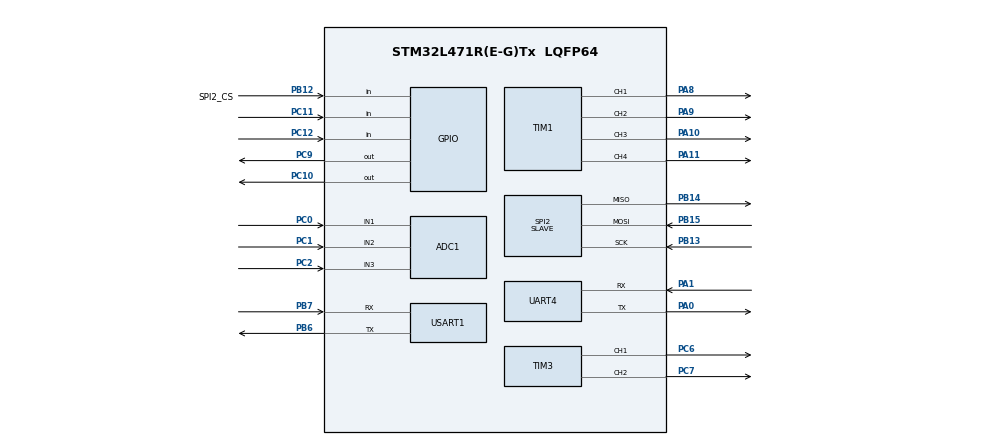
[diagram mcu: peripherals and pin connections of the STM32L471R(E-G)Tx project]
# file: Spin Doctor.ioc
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ADC1.Channel-0\#ChannelRegularConversion=ADC_CHANNEL_1
ADC1.Channel-1\#ChannelRegularConversion=ADC_CHANNEL_2
ADC1.Channel-2\#ChannelRegularConversion=ADC_CHANNEL_3
ADC1.NbrOfConversion=3
ADC1.NbrOfConversionFlag=1
ADC1.OffsetNumber-0\#ChannelRegularConversion=ADC_OFFSET_NONE
ADC1.OffsetNumber-1\#ChannelRegularConversion=ADC_OFFSET_NONE
ADC1.OffsetNumber-2\#ChannelRegularConversion=ADC_OFFSET_NONE
ADC1.Rank-0\#ChannelRegularConversion=1
ADC1.Rank-1\#ChannelRegularConversion=2
ADC1.Rank-2\#ChannelRegularConversion=3
ADC1.SamplingTime-0\#ChannelRegularConversion=ADC_SAMPLETIME_2CYCLES_5
ADC1.SamplingTime-1\#ChannelRegularConversion=ADC_SAMPLETIME_2CYCLES_5
ADC1.SamplingTime-2\#ChannelRegularConversion=ADC_SAMPLETIME_2CYCLES_5
ADC1.master=1
Dma.ADC1.0.Direction=DMA_PERIPH_TO_MEMORY
Dma.ADC1.0.Instance=DMA1_Channel1
Dma.ADC1.0.MemDataAlignment=DMA_MDATAALIGN_HALFWORD
Dma.ADC1.0.MemInc=DMA_MINC_ENABLE
Dma.ADC1.0.Mode=DMA_CIRCULAR
Dma.ADC1.0.PeriphDataAlignment=DMA_PDATAALIGN_HALFWORD
Dma.ADC1.0.PeriphInc=DMA_PINC_DISABLE
Dma.ADC1.0.Priority=DMA_PRIORITY_LOW
Dma.Request0=ADC1
Mcu.Family=STM32L4
Mcu.Name=STM32L471R(E-G)Tx
Mcu.Package=LQFP64
NVIC.DMA1_Channel1_IRQn=true\:0\:0\:false\:false\:true\:false\:true\:true
NVIC.PriorityGroup=NVIC_PRIORITYGROUP_4
NVIC.UART4_IRQn=true\:0\:0\:false\:false\:true\:true\:true\:true
NVIC.USART1_IRQn=true\:0\:0\:false\:false\:true\:true\:true\:true
PA0.Mode=Asynchronous
PA0.Signal=UART4_TX
PA1.Mode=Asynchronous
PA1.Signal=UART4_RX
PA10.Signal=S_TIM1_CH3
PA11.Signal=S_TIM1_CH4
PA13\ (JTMS-SWDIO).Mode=Serial_Wire
PA13\ (JTMS-SWDIO).Signal=SYS_JTMS-SWDIO
PA14\ (JTCK-SWCLK).Mode=Serial_Wire
PA14\ (JTCK-SWCLK).Signal=SYS_JTCK-SWCLK
PA8.Signal=S_TIM1_CH1
PA9.Signal=S_TIM1_CH2
PB12.GPIO_Label=SPI2_CS
PB12.Signal=GPIO_Input
PB13.Mode=Full_Duplex_Slave
PB13.Signal=SPI2_SCK
PB14.Mode=Full_Duplex_Slave
PB14.Signal=SPI2_MISO
PB15.Mode=Full_Duplex_Slave
PB15.Signal=SPI2_MOSI
PB6.Mode=Asynchronous
PB6.Signal=USART1_TX
PB7.Mode=Asynchronous
PB7.Signal=USART1_RX
PC0.Signal=ADCx_IN1
PC1.Signal=ADCx_IN2
PC10.Signal=GPIO_Output
PC11.Signal=GPIO_Input
PC12.Signal=GPIO_Input
PC2.Signal=ADCx_IN3
PC6.Signal=S_TIM3_CH1
PC7.Signal=S_TIM3_CH2
PC9.Signal=GPIO_Output
ProjectManager.HeapSize=0x200
ProjectManager.StackSize=0x400
ProjectManager.TargetToolchain=STM32CubeIDE
RCC.ADCFreq_Value=32000000
RCC.HSE_VALUE=8000000
RCC.HSI_VALUE=16000000
RCC.LSE_VALUE=32768
RCC.MSI_VALUE=4000000
RCC.PLLSAI1N=16
RCC.VCOOutputFreq_Value=32000000
SH.ADCx_IN1.0=ADC1_IN1,IN1-Single-Ended
SH.ADCx_IN2.0=ADC1_IN2,IN2-Single-Ended
SH.ADCx_IN3.0=ADC1_IN3,IN3-Single-Ended
SH.S_TIM1_CH1.0=TIM1_CH1,PWM Generation1 CH1
SH.S_TIM1_CH2.0=TIM1_CH2,PWM Generation2 CH2
SH.S_TIM1_CH3.0=TIM1_CH3,PWM Generation3 CH3
SH.S_TIM1_CH4.0=TIM1_CH4,PWM Generation4 CH4
SH.S_TIM3_CH1.0=TIM3_CH1,PWM Generation1 CH1
SH.S_TIM3_CH2.0=TIM3_CH2,PWM Generation2 CH2
SPI2.Direction=SPI_DIRECTION_2LINES
SPI2.Mode=SPI_MODE_SLAVE
SPI2.VirtualType=VM_SLAVE
TIM1.AutoReloadPreload=TIM_AUTORELOAD_PRELOAD_ENABLE
TIM1.Channel-PWM\ Generation1\ CH1=TIM_CHANNEL_1
TIM1.Channel-PWM\ Generation2\ CH2=TIM_CHANNEL_2
TIM1.Channel-PWM\ Generation3\ CH3=TIM_CHANNEL_3
TIM1.Channel-PWM\ Generation4\ CH4=TIM_CHANNEL_4
TIM3.Channel-PWM\ Generation1\ CH1=TIM_CHANNEL_1
TIM3.Channel-PWM\ Generation2\ CH2=TIM_CHANNEL_2
USART1.VirtualMode-Asynchronous=VM_ASYNC
VP_TIM1_VS_ClockSourceINT.Mode=Internal
VP_TIM3_VS_ClockSourceINT.Mode=Internal
board=custom

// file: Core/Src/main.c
/* USER CODE BEGIN Header */
/**
  ******************************************************************************
  * @file           : main.c
  * @brief          : Main program body
  ******************************************************************************
  * @attention
  *
  * Copyright (c) 2026 STMicroelectronics.
  * All rights reserved.
  *
  * This software is licensed under terms that can be found in the LICENSE file
  * in the root directory of this software component.
  * If no LICENSE file comes with this software, it is provided AS-IS.
  *
  ******************************************************************************
  */
/* USER CODE END Header */
#include "main.h"

/* USER CODE BEGIN PD */
#define MAX_OCR 65535

// TIMER 1
#define COILA1_CHANNEL TIM_CHANNEL_1
#define COILA2_CHANNEL TIM_CHANNEL_2
#define COILB1_CHANNEL TIM_CHANNEL_3
#define COILB2_CHANNEL TIM_CHANNEL_4

// TIMER 3
#define COILC1_CHANNEL TIM_CHANNEL_1
#define COILC2_CHANNEL TIM_CHANNEL_2

// Macros for coils
#define X_COIL 0
#define Y_COIL 1
#define Z_COIL 2

// Macros for direction
#define FORWARD true
#define REVERSE false

// Number of ADC Channels
#define TOTAL_ADC_CHANNELS 3

/* USER CODE END PD */

ADC_HandleTypeDef hadc1;
DMA_HandleTypeDef hdma_adc1;

SPI_HandleTypeDef hspi2;

TIM_HandleTypeDef htim1;
TIM_HandleTypeDef htim3;

UART_HandleTypeDef huart4;
UART_HandleTypeDef huart1;

/* USER CODE BEGIN PV */
MMC5983_HW_InitTypeDef MMC5983_Handle = {
	    .SPIhandler = &hspi2,
	    .CS_GPIOport = GPIOB,
	    .CS_GPIOpin = GPIO_PIN_12,
	    .SPI_Timeout = 100
	};

MMC5983_Data_TypeDef mag_data;

uint32_t adc_data[TOTAL_ADC_CHANNELS];
int16_t current_data[TOTAL_ADC_CHANNELS];

static uint8_t uartRxData[8] = {0};

// flags
bool coilCommandFlag = false;
bool currentReadingFlag = false;
bool magReadingFlag = false;
bool powerProfileFlag = false;
bool testRoutineFlag = false;

// variables for storing sent params
int8_t xDutyCycle = 0;
int8_t yDutyCycle = 0;
int8_t zDutyCycle = 0;
/* USER CODE END PV */

void SystemClock_Config(void);
static void MX_GPIO_Init(void);
static void MX_DMA_Init(void);
static void MX_ADC1_Init(void);
static void MX_SPI2_Init(void);
static void MX_TIM1_Init(void);
static void MX_TIM3_Init(void);
static void MX_UART4_Init(void);
static void MX_USART1_UART_Init(void);

int main(void)
{

  /* MCU Configuration--------------------------------------------------------*/

  /* Reset of all peripherals, Initializes the Flash interface and the Systick. */
  HAL_Init();

  /* Configure the system clock */
  SystemClock_Config();

  /* Initialize all configured peripherals */
  MX_GPIO_Init();
  MX_DMA_Init();
  MX_ADC1_Init();
  MX_SPI2_Init();
  MX_TIM1_Init();
  MX_TIM3_Init();
  MX_UART4_Init();
  MX_USART1_UART_Init();
  /* USER CODE BEGIN 2 */

  if (HAL_UART_Receive_IT(&huart4, uartRxData, 4) != HAL_OK)
  {
	  Error_Handler();
  }
  // Start ADCs
  HAL_ADC_Start_DMA(&hadc1, adc_data, 3);

  // Initialise magnetometer
  MMC5983_Init(&MMC5983_Handle);

  // Start PWM on all channels
  Start_PWM(&htim1, COILA1_CHANNEL);
  Start_PWM(&htim1, COILA2_CHANNEL);
  Start_PWM(&htim1, COILB1_CHANNEL);
  Start_PWM(&htim1, COILB2_CHANNEL);
  Start_PWM(&htim3, COILC1_CHANNEL);
  Start_PWM(&htim3, COILC2_CHANNEL);
  /* USER CODE END 2 */

  /* Infinite loop */
  /* USER CODE BEGIN WHILE */
  while (1)
  {
	if (coilCommandFlag) {
		if (abs(xDutyCycle) > 100) xDutyCycle = 0;
		if (abs(yDutyCycle) > 100) xDutyCycle = 0;
		if (abs(zDutyCycle) > 100) xDutyCycle = 0;

		XYZ_Command(xDutyCycle, yDutyCycle, zDutyCycle);

		coilCommandFlag = false;
	}

	if (currentReadingFlag) {
		Update_Current_Data(adc_data, current_data);
		Send_Current_Data(&huart4, current_data);

		currentReadingFlag = false;
	}

	if (magReadingFlag) {
		MMC5983_Data_Read(&MMC5983_Handle, &mag_data);
		Send_Magnetometer_Data(&huart4, &mag_data);

		magReadingFlag = false;
	}

	if (powerProfileFlag) {
		runPowerProfile();

		powerProfileFlag = false;
	}

	if (testRoutineFlag) {
		runFunctionalTest();

		testRoutineFlag = false;
	}
    /* USER CODE END WHILE */

  }
}

void SystemClock_Config(void)
{
  RCC_OscInitTypeDef RCC_OscInitStruct = {0};
  RCC_ClkInitTypeDef RCC_ClkInitStruct = {0};

  /** Configure the main internal regulator output voltage
  */
  if (HAL_PWREx_ControlVoltageScaling(PWR_REGULATOR_VOLTAGE_SCALE1) != HAL_OK)
  {
    Error_Handler();
  }

  /** Initializes the RCC Oscillators according to the specified parameters
  * in the RCC_OscInitTypeDef structure.
  */
  RCC_OscInitStruct.OscillatorType = RCC_OSCILLATORTYPE_MSI;
  RCC_OscInitStruct.MSIState = RCC_MSI_ON;
  RCC_OscInitStruct.MSICalibrationValue = 0;
  RCC_OscInitStruct.MSIClockRange = RCC_MSIRANGE_6;
  RCC_OscInitStruct.PLL.PLLState = RCC_PLL_NONE;
  if (HAL_RCC_OscConfig(&RCC_OscInitStruct) != HAL_OK)
  {
    Error_Handler();
  }

  /** Initializes the CPU, AHB and APB buses clocks
  */
  RCC_ClkInitStruct.ClockType = RCC_CLOCKTYPE_HCLK|RCC_CLOCKTYPE_SYSCLK
                              |RCC_CLOCKTYPE_PCLK1|RCC_CLOCKTYPE_PCLK2;
  RCC_ClkInitStruct.SYSCLKSource = RCC_SYSCLKSOURCE_MSI;
  RCC_ClkInitStruct.AHBCLKDivider = RCC_SYSCLK_DIV1;
  RCC_ClkInitStruct.APB1CLKDivider = RCC_HCLK_DIV1;
  RCC_ClkInitStruct.APB2CLKDivider = RCC_HCLK_DIV1;

  if (HAL_RCC_ClockConfig(&RCC_ClkInitStruct, FLASH_LATENCY_0) != HAL_OK)
  {
    Error_Handler();
  }
}

static void MX_ADC1_Init(void)
{

  ADC_MultiModeTypeDef multimode = {0};
  ADC_ChannelConfTypeDef sConfig = {0};

  /** Common config
  */
  hadc1.Instance = ADC1;
  hadc1.Init.ClockPrescaler = ADC_CLOCK_ASYNC_DIV1;
  hadc1.Init.Resolution = ADC_RESOLUTION_12B;
  hadc1.Init.DataAlign = ADC_DATAALIGN_RIGHT;
  hadc1.Init.ScanConvMode = ADC_SCAN_ENABLE;
  hadc1.Init.EOCSelection = ADC_EOC_SINGLE_CONV;
  hadc1.Init.LowPowerAutoWait = DISABLE;
  hadc1.Init.ContinuousConvMode = DISABLE;
  hadc1.Init.NbrOfConversion = 3;
  hadc1.Init.DiscontinuousConvMode = DISABLE;
  hadc1.Init.ExternalTrigConv = ADC_SOFTWARE_START;
  hadc1.Init.ExternalTrigConvEdge = ADC_EXTERNALTRIGCONVEDGE_NONE;
  hadc1.Init.DMAContinuousRequests = DISABLE;
  hadc1.Init.Overrun = ADC_OVR_DATA_PRESERVED;
  hadc1.Init.OversamplingMode = DISABLE;
  if (HAL_ADC_Init(&hadc1) != HAL_OK)
  {
    Error_Handler();
  }

  /** Configure the ADC multi-mode
  */
  multimode.Mode = ADC_MODE_INDEPENDENT;
  if (HAL_ADCEx_MultiModeConfigChannel(&hadc1, &multimode) != HAL_OK)
  {
    Error_Handler();
  }

  /** Configure Regular Channel
  */
  sConfig.Channel = ADC_CHANNEL_1;
  sConfig.Rank = ADC_REGULAR_RANK_1;
  sConfig.SamplingTime = ADC_SAMPLETIME_2CYCLES_5;
  sConfig.SingleDiff = ADC_SINGLE_ENDED;
  sConfig.OffsetNumber = ADC_OFFSET_NONE;
  sConfig.Offset = 0;
  if (HAL_ADC_ConfigChannel(&hadc1, &sConfig) != HAL_OK)
  {
    Error_Handler();
  }

  /** Configure Regular Channel
  */
  sConfig.Channel = ADC_CHANNEL_2;
  sConfig.Rank = ADC_REGULAR_RANK_2;
  if (HAL_ADC_ConfigChannel(&hadc1, &sConfig) != HAL_OK)
  {
    Error_Handler();
  }

  /** Configure Regular Channel
  */
  sConfig.Channel = ADC_CHANNEL_3;
  sConfig.Rank = ADC_REGULAR_RANK_3;
  if (HAL_ADC_ConfigChannel(&hadc1, &sConfig) != HAL_OK)
  {
    Error_Handler();
  }

}

static void MX_SPI2_Init(void)
{

  /* SPI2 parameter configuration*/
  hspi2.Instance = SPI2;
  hspi2.Init.Mode = SPI_MODE_SLAVE;
  hspi2.Init.Direction = SPI_DIRECTION_2LINES;
  hspi2.Init.DataSize = SPI_DATASIZE_4BIT;
  hspi2.Init.CLKPolarity = SPI_POLARITY_LOW;
  hspi2.Init.CLKPhase = SPI_PHASE_1EDGE;
  hspi2.Init.NSS = SPI_NSS_SOFT;
  hspi2.Init.FirstBit = SPI_FIRSTBIT_MSB;
  hspi2.Init.TIMode = SPI_TIMODE_DISABLE;
  hspi2.Init.CRCCalculation = SPI_CRCCALCULATION_DISABLE;
  hspi2.Init.CRCPolynomial = 7;
  hspi2.Init.CRCLength = SPI_CRC_LENGTH_DATASIZE;
  hspi2.Init.NSSPMode = SPI_NSS_PULSE_DISABLE;
  if (HAL_SPI_Init(&hspi2) != HAL_OK)
  {
    Error_Handler();
  }

}

static void MX_TIM1_Init(void)
{

  TIM_ClockConfigTypeDef sClockSourceConfig = {0};
  TIM_MasterConfigTypeDef sMasterConfig = {0};
  TIM_OC_InitTypeDef sConfigOC = {0};
  TIM_BreakDeadTimeConfigTypeDef sBreakDeadTimeConfig = {0};

  htim1.Instance = TIM1;
  htim1.Init.Prescaler = 0;
  htim1.Init.CounterMode = TIM_COUNTERMODE_UP;
  htim1.Init.Period = 65535;
  htim1.Init.ClockDivision = TIM_CLOCKDIVISION_DIV1;
  htim1.Init.RepetitionCounter = 0;
  htim1.Init.AutoReloadPreload = TIM_AUTORELOAD_PRELOAD_ENABLE;
  if (HAL_TIM_Base_Init(&htim1) != HAL_OK)
  {
    Error_Handler();
  }
  sClockSourceConfig.ClockSource = TIM_CLOCKSOURCE_INTERNAL;
  if (HAL_TIM_ConfigClockSource(&htim1, &sClockSourceConfig) != HAL_OK)
  {
    Error_Handler();
  }
  if (HAL_TIM_PWM_Init(&htim1) != HAL_OK)
  {
    Error_Handler();
  }
  sMasterConfig.MasterOutputTrigger = TIM_TRGO_RESET;
  sMasterConfig.MasterOutputTrigger2 = TIM_TRGO2_RESET;
  sMasterConfig.MasterSlaveMode = TIM_MASTERSLAVEMODE_DISABLE;
  if (HAL_TIMEx_MasterConfigSynchronization(&htim1, &sMasterConfig) != HAL_OK)
  {
    Error_Handler();
  }
  sConfigOC.OCMode = TIM_OCMODE_PWM1;
  sConfigOC.Pulse = 0;
  sConfigOC.OCPolarity = TIM_OCPOLARITY_HIGH;
  sConfigOC.OCNPolarity = TIM_OCNPOLARITY_HIGH;
  sConfigOC.OCFastMode = TIM_OCFAST_DISABLE;
  sConfigOC.OCIdleState = TIM_OCIDLESTATE_RESET;
  sConfigOC.OCNIdleState = TIM_OCNIDLESTATE_RESET;
  if (HAL_TIM_PWM_ConfigChannel(&htim1, &sConfigOC, TIM_CHANNEL_1) != HAL_OK)
  {
    Error_Handler();
  }
  if (HAL_TIM_PWM_ConfigChannel(&htim1, &sConfigOC, TIM_CHANNEL_2) != HAL_OK)
  {
    Error_Handler();
  }
  if (HAL_TIM_PWM_ConfigChannel(&htim1, &sConfigOC, TIM_CHANNEL_3) != HAL_OK)
  {
    Error_Handler();
  }
  if (HAL_TIM_PWM_ConfigChannel(&htim1, &sConfigOC, TIM_CHANNEL_4) != HAL_OK)
  {
    Error_Handler();
  }
  sBreakDeadTimeConfig.OffStateRunMode = TIM_OSSR_DISABLE;
  sBreakDeadTimeConfig.OffStateIDLEMode = TIM_OSSI_DISABLE;
  sBreakDeadTimeConfig.LockLevel = TIM_LOCKLEVEL_OFF;
  sBreakDeadTimeConfig.DeadTime = 0;
  sBreakDeadTimeConfig.BreakState = TIM_BREAK_DISABLE;
  sBreakDeadTimeConfig.BreakPolarity = TIM_BREAKPOLARITY_HIGH;
  sBreakDeadTimeConfig.BreakFilter = 0;
  sBreakDeadTimeConfig.Break2State = TIM_BREAK2_DISABLE;
  sBreakDeadTimeConfig.Break2Polarity = TIM_BREAK2POLARITY_HIGH;
  sBreakDeadTimeConfig.Break2Filter = 0;
  sBreakDeadTimeConfig.AutomaticOutput = TIM_AUTOMATICOUTPUT_DISABLE;
  if (HAL_TIMEx_ConfigBreakDeadTime(&htim1, &sBreakDeadTimeConfig) != HAL_OK)
  {
    Error_Handler();
  }
  HAL_TIM_MspPostInit(&htim1);

}

static void MX_TIM3_Init(void)
{

  TIM_ClockConfigTypeDef sClockSourceConfig = {0};
  TIM_MasterConfigTypeDef sMasterConfig = {0};
  TIM_OC_InitTypeDef sConfigOC = {0};

  htim3.Instance = TIM3;
  htim3.Init.Prescaler = 0;
  htim3.Init.CounterMode = TIM_COUNTERMODE_UP;
  htim3.Init.Period = 65535;
  htim3.Init.ClockDivision = TIM_CLOCKDIVISION_DIV1;
  htim3.Init.AutoReloadPreload = TIM_AUTORELOAD_PRELOAD_DISABLE;
  if (HAL_TIM_Base_Init(&htim3) != HAL_OK)
  {
    Error_Handler();
  }
  sClockSourceConfig.ClockSource = TIM_CLOCKSOURCE_INTERNAL;
  if (HAL_TIM_ConfigClockSource(&htim3, &sClockSourceConfig) != HAL_OK)
  {
    Error_Handler();
  }
  if (HAL_TIM_PWM_Init(&htim3) != HAL_OK)
  {
    Error_Handler();
  }
  sMasterConfig.MasterOutputTrigger = TIM_TRGO_RESET;
  sMasterConfig.MasterSlaveMode = TIM_MASTERSLAVEMODE_DISABLE;
  if (HAL_TIMEx_MasterConfigSynchronization(&htim3, &sMasterConfig) != HAL_OK)
  {
    Error_Handler();
  }
  sConfigOC.OCMode = TIM_OCMODE_PWM1;
  sConfigOC.Pulse = 0;
  sConfigOC.OCPolarity = TIM_OCPOLARITY_HIGH;
  sConfigOC.OCFastMode = TIM_OCFAST_DISABLE;
  if (HAL_TIM_PWM_ConfigChannel(&htim3, &sConfigOC, TIM_CHANNEL_1) != HAL_OK)
  {
    Error_Handler();
  }
  if (HAL_TIM_PWM_ConfigChannel(&htim3, &sConfigOC, TIM_CHANNEL_2) != HAL_OK)
  {
    Error_Handler();
  }
  HAL_TIM_MspPostInit(&htim3);

}

static void MX_UART4_Init(void)
{

  huart4.Instance = UART4;
  huart4.Init.BaudRate = 115200;
  huart4.Init.WordLength = UART_WORDLENGTH_8B;
  huart4.Init.StopBits = UART_STOPBITS_1;
  huart4.Init.Parity = UART_PARITY_NONE;
  huart4.Init.Mode = UART_MODE_TX_RX;
  huart4.Init.HwFlowCtl = UART_HWCONTROL_NONE;
  huart4.Init.OverSampling = UART_OVERSAMPLING_16;
  huart4.Init.OneBitSampling = UART_ONE_BIT_SAMPLE_DISABLE;
  huart4.AdvancedInit.AdvFeatureInit = UART_ADVFEATURE_NO_INIT;
  if (HAL_UART_Init(&huart4) != HAL_OK)
  {
    Error_Handler();
  }

}

static void MX_USART1_UART_Init(void)
{

  huart1.Instance = USART1;
  huart1.Init.BaudRate = 115200;
  huart1.Init.WordLength = UART_WORDLENGTH_8B;
  huart1.Init.StopBits = UART_STOPBITS_1;
  huart1.Init.Parity = UART_PARITY_NONE;
  huart1.Init.Mode = UART_MODE_TX_RX;
  huart1.Init.HwFlowCtl = UART_HWCONTROL_NONE;
  huart1.Init.OverSampling = UART_OVERSAMPLING_16;
  huart1.Init.OneBitSampling = UART_ONE_BIT_SAMPLE_DISABLE;
  huart1.AdvancedInit.AdvFeatureInit = UART_ADVFEATURE_NO_INIT;
  if (HAL_UART_Init(&huart1) != HAL_OK)
  {
    Error_Handler();
  }

}

static void MX_DMA_Init(void)
{

  /* DMA controller clock enable */
  __HAL_RCC_DMA1_CLK_ENABLE();

  /* DMA interrupt init */
  /* DMA1_Channel1_IRQn interrupt configuration */
  HAL_NVIC_SetPriority(DMA1_Channel1_IRQn, 0, 0);
  HAL_NVIC_EnableIRQ(DMA1_Channel1_IRQn);

}

static void MX_GPIO_Init(void)
{
  GPIO_InitTypeDef GPIO_InitStruct = {0};

  /* GPIO Ports Clock Enable */
  __HAL_RCC_GPIOC_CLK_ENABLE();
  __HAL_RCC_GPIOA_CLK_ENABLE();
  __HAL_RCC_GPIOB_CLK_ENABLE();

  /*Configure GPIO pin Output Level */
  HAL_GPIO_WritePin(GPIOC, GPIO_PIN_9|GPIO_PIN_10, GPIO_PIN_RESET);

  /*Configure GPIO pin : SPI2_CS_Pin */
  GPIO_InitStruct.Pin = SPI2_CS_Pin;
  GPIO_InitStruct.Mode = GPIO_MODE_INPUT;
  GPIO_InitStruct.Pull = GPIO_NOPULL;
  HAL_GPIO_Init(SPI2_CS_GPIO_Port, &GPIO_InitStruct);

  /*Configure GPIO pins : PC9 PC10 */
  GPIO_InitStruct.Pin = GPIO_PIN_9|GPIO_PIN_10;
  GPIO_InitStruct.Mode = GPIO_MODE_OUTPUT_PP;
  GPIO_InitStruct.Pull = GPIO_NOPULL;
  GPIO_InitStruct.Speed = GPIO_SPEED_FREQ_LOW;
  HAL_GPIO_Init(GPIOC, &GPIO_InitStruct);

  /*Configure GPIO pins : PC11 PC12 */
  GPIO_InitStruct.Pin = GPIO_PIN_11|GPIO_PIN_12;
  GPIO_InitStruct.Mode = GPIO_MODE_INPUT;
  GPIO_InitStruct.Pull = GPIO_NOPULL;
  HAL_GPIO_Init(GPIOC, &GPIO_InitStruct);

}

/* USER CODE BEGIN 4 */
// Callback for UART hardware interrupt
void HAL_UART_RxCpltCallback(UART_HandleTypeDef* huart)
{

	switch (uartRxData[0]) {
	case 0x00:
		// Send coil command
		coilCommandFlag = true;
		xDutyCycle = uartRxData[1];
		yDutyCycle = uartRxData[2];
		zDutyCycle = uartRxData[3];
		break;

	case 0x01:
		// Read current data
		currentReadingFlag = true;
		break;

	case 0x02:
		// Read magnetometer data
		magReadingFlag = true;
		break;

	case 0x03:
		// run power profile test
		powerProfileFlag = true;
		break;

	case 0x04:
		// run functional test
		testRoutineFlag = true;
		break;
	}

    // Receive next
	if (HAL_UART_Receive_IT(huart, uartRxData, 4) != HAL_OK)
	{
	    Error_Handler();
	}
}

void Start_PWM(TIM_HandleTypeDef *timer, uint32_t channel) {
	if (HAL_TIM_PWM_Start(timer, channel) != HAL_OK) {
		Error_Handler();
	}
}

void Set_Magnetorquer_PWM(TIM_HandleTypeDef *timer, uint32_t channel, uint8_t duty_cycle) {
	uint32_t comparVal = ((float)duty_cycle/100)*MAX_OCR;	// calculate compare value from duty cycle
	__HAL_TIM_SET_COMPARE(timer, channel, comparVal);		// set the compare value
}

void Magnetorquer_Command(uint8_t mag_num, uint8_t duty_cycle, bool direction) {
	uint32_t channel1;
	uint32_t channel2;
	TIM_HandleTypeDef timer;

	switch(mag_num) {
	case 0:		// x coil
		timer = htim1;
		channel1 = COILA1_CHANNEL;
		channel2 = COILA2_CHANNEL;
		break;
	case 1:		// y coil
		timer = htim1;
		channel1 = COILB1_CHANNEL;
		channel2 = COILB2_CHANNEL;
		break;
	case 2:		// z coil
		timer = htim3;
		channel1 = COILC1_CHANNEL;
		channel2 = COILC2_CHANNEL;
		break;
	default:	// pick the x coil by default
		timer = htim1;
		channel1 = COILA1_CHANNEL;
		channel2 = COILA2_CHANNEL;
		break;
	}

	if (direction == FORWARD) {
		Set_Magnetorquer_PWM(&timer, channel1, duty_cycle);	// set PWM
		Set_Magnetorquer_PWM(&timer, channel2, 0);			// drive coil forwards
	} else {
		Set_Magnetorquer_PWM(&timer, channel1, 0);			// drive coil backwards
		Set_Magnetorquer_PWM(&timer, channel2, duty_cycle);	// set PWM
	}

}

void XYZ_Command(int8_t xDuty, int8_t yDuty, int8_t zDuty) {
	uint8_t xDutyCycle = abs(xDuty);	// find magnitude of duty cycles
	uint8_t yDutyCycle = abs(xDuty);
	uint8_t zDutyCycle = abs(xDuty);

	bool xDirection;
	bool yDirection;
	bool zDirection;

	xDirection = (xDuty > 0) ? FORWARD : REVERSE;	// set directions according to sign of duty cycle input
	yDirection = (yDuty > 0) ? FORWARD : REVERSE;
	zDirection = (zDuty > 0) ? FORWARD : REVERSE;

	Magnetorquer_Command(X_COIL, xDutyCycle, xDirection);	// send magnetorquer commands
	Magnetorquer_Command(Y_COIL, yDutyCycle, yDirection);
	Magnetorquer_Command(Z_COIL, zDutyCycle, zDirection);
}

void testCoil(int8_t xDuty, int8_t yDuty, int8_t zDuty) {
	XYZ_Command(xDuty, yDuty, zDuty);					// drive coils
	Update_Current_Data(adc_data, current_data);		// update current data
	MMC5983_Data_Read(&MMC5983_Handle, &mag_data);		// read magnetometer data
	Send_Current_Data(&huart4, current_data);			// send current data
	Send_Magnetometer_Data(&huart4, &mag_data);			// send magnetometer data
}

void runPowerProfile(void) {
	uint8_t serial_string[128] = "";
	sprintf((char *)serial_string, "Take voltage and current measurements.\r\n");

	testCoil(100, 0, 0);	// drive X coil fully forward
    HAL_UART_Transmit(&huart4, serial_string, strlen(serial_string), 10);
	HAL_Delay(20000);
	testCoil(-100, 0, 0);	// drive X coil fully reverse
    HAL_UART_Transmit(&huart4, serial_string, strlen(serial_string), 10);
	HAL_Delay(20000);
	testCoil(0, 0, 0);		// de-energise X coil

	testCoil(0, 100, 0);	// drive Y coil fully forward
    HAL_UART_Transmit(&huart4, serial_string, strlen(serial_string), 10);
	HAL_Delay(20000);
	testCoil(0, -100, 0);	// drive Y coil fully reverse
    HAL_UART_Transmit(&huart4, serial_string, strlen(serial_string), 10);
	HAL_Delay(20000);
	testCoil(0, 0, 0);		// de-energise Y coil

	testCoil(0, 0, 100);	// drive Z coil fully forward
    HAL_UART_Transmit(&huart4, serial_string, strlen(serial_string), 10);
	HAL_Delay(20000);
	testCoil(0, 0, -100);	// drive Z coil fully reverse
    HAL_UART_Transmit(&huart4, serial_string, strlen(serial_string), 10);
	HAL_Delay(20000);
	testCoil(0, 0, 0);		// de-energise Z coil
}

void runFunctionalTest(void) {
	uint8_t serial_string[128] = "";
	sprintf((char *)serial_string, "Take magnetometer measurements.\r\n");

	for (int i = 0; i <= 100; i += 20) {	// set x coil duty cycle in increments of 20%
		testCoil(i, 0, 0);
		HAL_UART_Transmit(&huart4, serial_string, strlen(serial_string), 10);
		HAL_Delay(20000);

		testCoil(-i, 0, 0);
		HAL_UART_Transmit(&huart4, serial_string, strlen(serial_string), 10);
		HAL_Delay(20000);
	}

	testCoil(0, 0, 0);

	for (int i = 0; i <= 100; i += 20) {	// set y coil duty cycle in increments of 20%
		testCoil(0, i, 0);
		HAL_UART_Transmit(&huart4, serial_string, strlen(serial_string), 10);
		HAL_Delay(20000);

		testCoil(0, -i, 0);
		HAL_UART_Transmit(&huart4, serial_string, strlen(serial_string), 10);
		HAL_Delay(20000);
	}

	testCoil(0, 0, 0);

	for (int i = 0; i <= 100; i += 20) {	// set z coil duty cycle in increments of 20%
		testCoil(0, 0, i);
		HAL_UART_Transmit(&huart4, serial_string, strlen(serial_string), 10);
		HAL_Delay(20000);

		testCoil(0, 0, -i);
		HAL_UART_Transmit(&huart4, serial_string, strlen(serial_string), 10);
		HAL_Delay(20000);
	}

	testCoil(0, 0, 0);
}

void MMC5983_Init(MMC5983_HW_InitTypeDef *magHandle) {
	if (MMC5983_ID_Verify(magHandle) != MMC_NO_ERROR) {
	    Error_Handler();
	}

	MMC5983_SW_Reset(magHandle);
	MMC5983_Set_Bandwidth(magHandle, MMC_BW_0400);
	MMC5983_Set_Operation_Rate(magHandle, MMC_SET_0500);
	MMC5983_Enable_Auto_Set_Reset(magHandle);
	MMC5983_Set_Output_DataRate(magHandle, MMC_ODR_0100);
	MMC5983_Set_Continuous_Measurement(magHandle);
}

void Update_Current_Data(uint32_t *raw, int16_t *data) {
	for (int ch = 0; ch < TOTAL_ADC_CHANNELS; ch++) {
		float raw_voltage = 3.3f*(float)raw[ch]/4095;	// convert adc value to voltage
		float shunt_voltage = raw_voltage / 20; 		// amplifier has gain of 20 V/V
		float current = shunt_voltage / 0.001;			// calculate current through the shunt
		data[ch] = (int16_t)(current * 1000);			// cast to int to send
	}
}

void Send_Current_Data(UART_HandleTypeDef *huart, int16_t *current_data) {
	uint8_t data[TOTAL_ADC_CHANNELS*2];

	for (int ch = 0; ch < TOTAL_ADC_CHANNELS; ch++) {
		uint16_t u_val = (uint16_t)current_data[ch];

		data[2*ch] = (u_val >> 8) & 0xFF;	// big endian encoding
		data[2*ch + 1] = u_val & 0xFF;
	}

	HAL_UART_Transmit(huart, data, TOTAL_ADC_CHANNELS*2, 1000);
}

void Send_Magnetometer_Data(UART_HandleTypeDef *huart, MMC5983_Data_TypeDef *MMC5983_Data) {
	uint8_t data[6];

	uint16_t uval_x = (uint16_t)MMC5983_Data->axes.DX;
	uint16_t uval_y = (uint16_t)MMC5983_Data->axes.DY;
	uint16_t uval_z = (uint16_t)MMC5983_Data->axes.DZ;

	data[0] = (uval_x >> 8) & 0xFF;
	data[1] = uval_x & 0xFF;
	data[2] = (uval_y >> 8) & 0xFF;
	data[3] = uval_y & 0xFF;
	data[4] = (uval_z >> 8) & 0xFF;
	data[5] = uval_z & 0xFF;

	HAL_UART_Transmit(huart, data, 6, 1000);
}
/* USER CODE END 4 */

void Error_Handler(void)
{
  __disable_irq();
  while (1)
  {
  }
}
